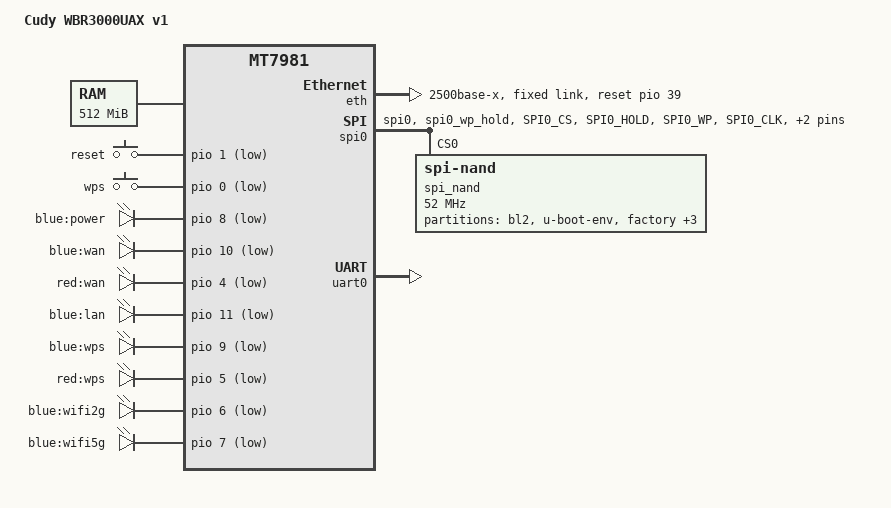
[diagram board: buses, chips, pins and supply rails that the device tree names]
// SPDX-License-Identifier: GPL-2.0-or-later

/dts-v1/;
#include "mt7981.dtsi"
#include <dt-bindings/gpio/gpio.h>
#include <dt-bindings/input/linux-event-codes.h>

/ {
	#address-cells = <1>;
	#size-cells = <1>;
	model = "Cudy WBR3000UAX v1";
	compatible = "mediatek,mt7981", "mediatek,mt7981-rfb";

	chosen {
		stdout-path = &uart0;
		tick-timer = &timer0;
	};

	/*
	 * 多分区布局表：一份 U-Boot 按 mtd_layout 环境变量选一套
	 *   mtd_layout=default  原厂 Cudy 128M 口径，ubi 只有 64M
	 *   mtd_layout=122m     128M 颗粒用满，ubi 125184k（=0x7a40000）
	 *   mtd_layout=256m     256M 颗粒
	 *   mtd_layout=512m     512M 颗粒
	 * 头部公共区：bl2 1M + u-boot-env 512K + factory 2M + bdinfo 256K + fip 2M = 5888K
	 */
	mtd-layout {
		layout@0 {
			label = "default";
			mtdids = "spi-nand0=spi-nand0";
			mtdparts = "spi-nand0:1024k(bl2),512k(u-boot-env),2048k(factory),256k(bdinfo),2048k(fip),65536k(ubi)";
		};

		layout@1 {
			label = "122m";
			mtdids = "spi-nand0=spi-nand0";
			mtdparts = "spi-nand0:1024k(bl2),512k(u-boot-env),2048k(factory),256k(bdinfo),2048k(fip),125184k(ubi)";
		};

		layout@2 {
			label = "256m";
			mtdids = "spi-nand0=spi-nand0";
			mtdparts = "spi-nand0:1024k(bl2),512k(u-boot-env),2048k(factory),256k(bdinfo),2048k(fip),256256k(ubi)";
		};

		layout@3 {
			label = "512m";
			mtdids = "spi-nand0=spi-nand0";
			mtdparts = "spi-nand0:1024k(bl2),512k(u-boot-env),2048k(factory),256k(bdinfo),2048k(fip),518400k(ubi)";
		};
	};

	memory@40000000 {
		device_type = "memory";
		reg = <0x40000000 0x20000000>;
	};

	gpio-keys {
		compatible = "gpio-keys";

		button-reset {
			label = "reset";
			linux,code = <KEY_RESTART>;
			gpios = <&pio 1 GPIO_ACTIVE_LOW>;
		};

		button-wps {
			label = "wps";
			linux,code = <KEY_WPS_BUTTON>;
			gpios = <&pio 0 GPIO_ACTIVE_LOW>;
		};
	};

	gpio-leds {
		compatible = "gpio-leds";

		led_status: led_power {
			label = "blue:power";
			gpios = <&pio 8 GPIO_ACTIVE_LOW>;
		};

		led_wan_blue {
			label = "blue:wan";
			gpios = <&pio 10 GPIO_ACTIVE_LOW>;
		};
		
		led_wan_red {
			label = "red:wan";
			gpios = <&pio 4 GPIO_ACTIVE_LOW>;
		};

		led_lan {
			label = "blue:lan";
			gpios = <&pio 11 GPIO_ACTIVE_LOW>;
		};

		led_wps_blue {
			label = "blue:wps";
			gpios = <&pio 9 GPIO_ACTIVE_LOW>;
		};

		led_wps_red {
			label = "red:wps";
			gpios = <&pio 5 GPIO_ACTIVE_LOW>;
		};

		led_wifi2g {
			label = "blue:wifi2g";
			gpios = <&pio 6 GPIO_ACTIVE_LOW>;
		};

		led_wifi5g {
			label = "blue:wifi5g";
			gpios = <&pio 7 GPIO_ACTIVE_LOW>;
		};
	};
};

&eth {
	status = "okay";
	mediatek,gmac-id = <0>;
	phy-mode = "2500base-x";
	mediatek,switch = "mt7531";
	reset-gpios = <&pio 39 GPIO_ACTIVE_HIGH>;

	fixed-link {
		speed = <2500>;
		full-duplex;
	};
};

&pio {
	spi_flash_pins: spi0-pins-func-1 {
		mux {
			function = "flash";
			groups = "spi0", "spi0_wp_hold";
		};

		conf-pu {
			pins = "SPI0_CS", "SPI0_HOLD", "SPI0_WP";
			drive-strength = <MTK_DRIVE_8mA>;
			bias-pull-up = <MTK_PUPD_SET_R1R0_11>;
		};

		conf-pd {
			pins = "SPI0_CLK", "SPI0_MOSI", "SPI0_MISO";
			drive-strength = <MTK_DRIVE_8mA>;
			bias-pull-down = <MTK_PUPD_SET_R1R0_11>;
		};
	};
};

&spi0 {
	#address-cells = <1>;
	#size-cells = <0>;
	pinctrl-names = "default";
	pinctrl-0 = <&spi_flash_pins>;
	status = "okay";
	must_tx;
	enhance_timing;
	dma_ext;
	ipm_design;
	support_quad;
	tick_dly = <2>;
	sample_sel = <0>;

	spi_nand@0 {
		compatible = "spi-nand";
		reg = <0>;
		spi-max-frequency = <52000000>;

		partitions {
			compatible = "fixed-partitions";
			#address-cells = <1>;
			#size-cells = <1>;

			partition@0 {
				label = "bl2";
				reg = <0x0 0x100000>;
			};

			partition@100000 {
				label = "u-boot-env";
				reg = <0x100000 0x80000>;
			};

			partition@180000 {
				label = "factory";
				reg = <0x180000 0x200000>;
			};

			partition@380000 {
				label = "bdinfo";
				reg = <0x380000 0x40000>;
			};

			partition@3c0000 {
				label = "fip";
				reg = <0x3c0000 0x200000>;
			};

			partition@5c0000 {
				label = "ubi";
				/* 128M 原布局；256M/512M 见 /mtd-layout 里的对应 layout */
				reg = <0x5c0000 0x7a40000>;
				compatible = "linux,ubi";
			};
		};
	};
};

&uart0 {
	mediatek,force-highspeed;
	status = "okay";
};

&watchdog {
	status = "disabled";
};
